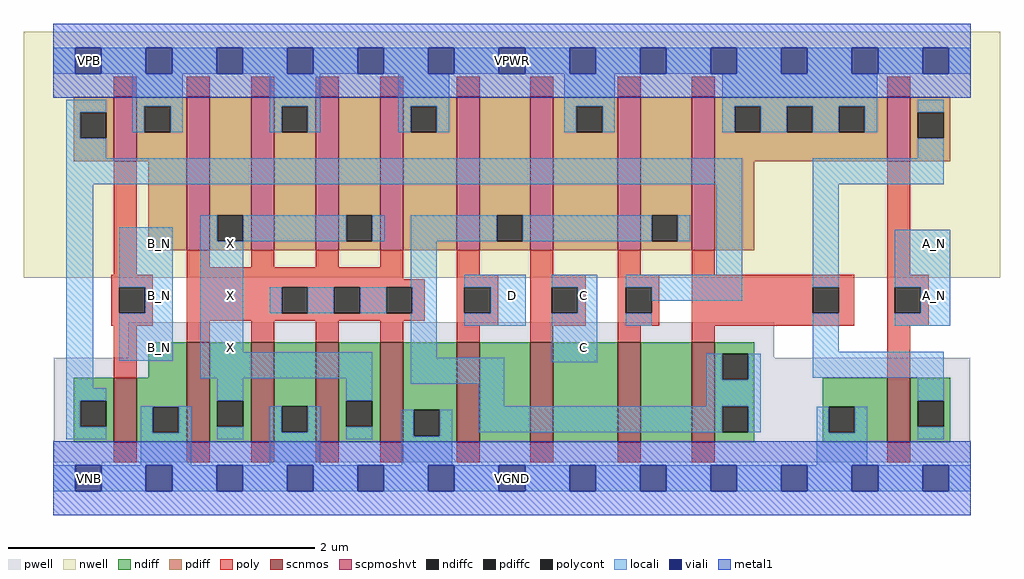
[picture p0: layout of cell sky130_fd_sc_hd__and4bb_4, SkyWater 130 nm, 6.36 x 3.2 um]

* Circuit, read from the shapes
.subckt sky130_fd_sc_hd__and4bb_4 A_N B_N C D VGND VNB VPB VPWR X
XM1 VGND B_N n1 VNB sky130_fd_pr__nfet_01v8 w=0.42 l=0.15
XM2 X n2 VGND VNB sky130_fd_pr__nfet_01v8 w=0.65 l=0.15 m=4
XM3 n3 D VGND VNB sky130_fd_pr__nfet_01v8 w=0.65 l=0.15
XM4 n4 C n3 VNB sky130_fd_pr__nfet_01v8 w=0.65 l=0.15
XM5 n5 n1 n4 VNB sky130_fd_pr__nfet_01v8 w=0.65 l=0.15
XM6 n2 n6 n5 VNB sky130_fd_pr__nfet_01v8 w=0.65 l=0.15
XM7 n6 A_N VGND VNB sky130_fd_pr__nfet_01v8 w=0.42 l=0.15
XM8 VPWR B_N n1 VPB sky130_fd_pr__pfet_01v8_hvt w=0.42 l=0.15
XM9 X n2 VPWR VPB sky130_fd_pr__pfet_01v8_hvt w=1 l=0.15 m=4
XM10 n2 D VPWR VPB sky130_fd_pr__pfet_01v8_hvt w=1 l=0.15
XM11 VPWR C n2 VPB sky130_fd_pr__pfet_01v8_hvt w=1 l=0.15
XM12 n2 n1 VPWR VPB sky130_fd_pr__pfet_01v8_hvt w=1 l=0.15
XM13 VPWR n6 n2 VPB sky130_fd_pr__pfet_01v8_hvt w=1 l=0.15
XM14 n6 A_N VPWR VPB sky130_fd_pr__pfet_01v8_hvt w=0.42 l=0.15
.ends

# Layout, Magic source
magic
tech sky130B
magscale 1 2
<< nwell >>
rect -38 261 1234 582
<< pwell >>
rect 98 157 940 203
rect 1 21 1195 157
rect 30 -17 64 21
<< scnmos >>
rect 79 47 109 131
rect 174 47 204 177
rect 258 47 288 177
rect 342 47 372 177
rect 426 47 456 177
rect 526 47 556 177
rect 622 47 652 177
rect 736 47 766 177
rect 832 47 862 177
rect 1087 47 1117 131
<< scpmoshvt >>
rect 79 413 109 497
rect 174 297 204 497
rect 258 297 288 497
rect 342 297 372 497
rect 426 297 456 497
rect 526 297 556 497
rect 622 297 652 497
rect 736 297 766 497
rect 832 297 862 497
rect 1087 413 1117 497
<< ndiff >>
rect 124 131 174 177
rect 27 101 79 131
rect 27 67 35 101
rect 69 67 79 101
rect 27 47 79 67
rect 109 93 174 131
rect 109 59 130 93
rect 164 59 174 93
rect 109 47 174 59
rect 204 101 258 177
rect 204 67 214 101
rect 248 67 258 101
rect 204 47 258 67
rect 288 94 342 177
rect 288 60 298 94
rect 332 60 342 94
rect 288 47 342 60
rect 372 101 426 177
rect 372 67 382 101
rect 416 67 426 101
rect 372 47 426 67
rect 456 89 526 177
rect 456 55 470 89
rect 504 55 526 89
rect 456 47 526 55
rect 556 47 622 177
rect 652 47 736 177
rect 766 47 832 177
rect 862 162 914 177
rect 862 128 872 162
rect 906 128 914 162
rect 862 94 914 128
rect 862 60 872 94
rect 906 60 914 94
rect 862 47 914 60
rect 1003 93 1087 131
rect 1003 59 1011 93
rect 1045 59 1087 93
rect 1003 47 1087 59
rect 1117 101 1169 131
rect 1117 67 1127 101
rect 1161 67 1169 101
rect 1117 47 1169 67
<< pdiff >>
rect 27 477 79 497
rect 27 443 35 477
rect 69 443 79 477
rect 27 413 79 443
rect 109 485 174 497
rect 109 451 119 485
rect 153 451 174 485
rect 109 413 174 451
rect 124 297 174 413
rect 204 343 258 497
rect 204 309 214 343
rect 248 309 258 343
rect 204 297 258 309
rect 288 485 342 497
rect 288 451 298 485
rect 332 451 342 485
rect 288 297 342 451
rect 372 343 426 497
rect 372 309 382 343
rect 416 309 426 343
rect 372 297 426 309
rect 456 485 526 497
rect 456 451 466 485
rect 500 451 526 485
rect 456 297 526 451
rect 556 343 622 497
rect 556 309 578 343
rect 612 309 622 343
rect 556 297 622 309
rect 652 485 736 497
rect 652 451 682 485
rect 716 451 736 485
rect 652 297 736 451
rect 766 343 832 497
rect 766 309 780 343
rect 814 309 832 343
rect 766 297 832 309
rect 862 485 1087 497
rect 862 451 888 485
rect 922 451 956 485
rect 990 451 1024 485
rect 1058 451 1087 485
rect 862 413 1087 451
rect 1117 477 1169 497
rect 1117 443 1127 477
rect 1161 443 1169 477
rect 1117 413 1169 443
rect 862 297 914 413
<< ndiffc >>
rect 35 67 69 101
rect 130 59 164 93
rect 214 67 248 101
rect 298 60 332 94
rect 382 67 416 101
rect 470 55 504 89
rect 872 128 906 162
rect 872 60 906 94
rect 1011 59 1045 93
rect 1127 67 1161 101
<< pdiffc >>
rect 35 443 69 477
rect 119 451 153 485
rect 214 309 248 343
rect 298 451 332 485
rect 382 309 416 343
rect 466 451 500 485
rect 578 309 612 343
rect 682 451 716 485
rect 780 309 814 343
rect 888 451 922 485
rect 956 451 990 485
rect 1024 451 1058 485
rect 1127 443 1161 477
<< poly >>
rect 79 497 109 523
rect 174 497 204 523
rect 258 497 288 523
rect 342 497 372 523
rect 426 497 456 523
rect 526 497 556 523
rect 622 497 652 523
rect 736 497 766 523
rect 832 497 862 523
rect 1087 497 1117 523
rect 79 265 109 413
rect 174 275 204 297
rect 258 275 288 297
rect 342 275 372 297
rect 426 275 456 297
rect 76 249 130 265
rect 76 215 86 249
rect 120 215 130 249
rect 76 199 130 215
rect 174 259 456 275
rect 526 265 556 297
rect 622 265 652 297
rect 736 265 766 297
rect 832 265 862 297
rect 1087 265 1117 413
rect 174 249 484 259
rect 174 215 298 249
rect 332 215 366 249
rect 400 215 434 249
rect 468 215 484 249
rect 174 205 484 215
rect 526 249 580 265
rect 526 215 536 249
rect 570 215 580 249
rect 79 131 109 199
rect 174 177 204 205
rect 258 177 288 205
rect 342 177 372 205
rect 426 177 456 205
rect 526 199 580 215
rect 622 249 694 265
rect 622 215 650 249
rect 684 215 694 249
rect 622 199 694 215
rect 736 249 790 265
rect 736 215 746 249
rect 780 215 790 249
rect 736 199 790 215
rect 832 249 1044 265
rect 832 215 990 249
rect 1024 215 1044 249
rect 832 199 1044 215
rect 1087 249 1141 265
rect 1087 215 1097 249
rect 1131 215 1141 249
rect 1087 199 1141 215
rect 526 177 556 199
rect 622 177 652 199
rect 736 177 766 199
rect 832 177 862 199
rect 1087 131 1117 199
rect 79 21 109 47
rect 174 21 204 47
rect 258 21 288 47
rect 342 21 372 47
rect 426 21 456 47
rect 526 21 556 47
rect 622 21 652 47
rect 736 21 766 47
rect 832 21 862 47
rect 1087 21 1117 47
<< polycont >>
rect 86 215 120 249
rect 298 215 332 249
rect 366 215 400 249
rect 434 215 468 249
rect 536 215 570 249
rect 650 215 684 249
rect 746 215 780 249
rect 990 215 1024 249
rect 1097 215 1131 249
<< locali >>
rect 0 527 29 561
rect 63 527 121 561
rect 155 527 213 561
rect 247 527 305 561
rect 339 527 397 561
rect 431 527 489 561
rect 523 527 581 561
rect 615 527 673 561
rect 707 527 765 561
rect 799 527 857 561
rect 891 527 949 561
rect 983 527 1041 561
rect 1075 527 1133 561
rect 1167 527 1196 561
rect 17 477 69 493
rect 17 443 35 477
rect 103 485 169 527
rect 103 451 119 485
rect 153 451 169 485
rect 282 485 348 527
rect 282 451 298 485
rect 332 451 348 485
rect 450 485 516 527
rect 450 451 466 485
rect 500 451 516 485
rect 666 485 732 527
rect 666 451 682 485
rect 716 451 732 485
rect 872 485 1074 527
rect 872 451 888 485
rect 922 451 956 485
rect 990 451 1024 485
rect 1058 451 1074 485
rect 1127 477 1161 493
rect 17 417 69 443
rect 1127 417 1161 443
rect 17 383 898 417
rect 17 117 52 383
rect 86 249 156 327
rect 120 215 156 249
rect 86 153 156 215
rect 192 309 214 343
rect 248 309 382 343
rect 416 309 432 343
rect 466 309 578 343
rect 612 309 780 343
rect 814 309 830 343
rect 192 164 248 309
rect 466 249 500 309
rect 864 265 898 383
rect 282 215 298 249
rect 332 215 366 249
rect 400 215 434 249
rect 468 215 500 249
rect 192 130 416 164
rect 17 101 69 117
rect 17 67 35 101
rect 214 101 248 130
rect 17 51 69 67
rect 114 93 180 94
rect 114 59 130 93
rect 164 59 180 93
rect 114 17 180 59
rect 382 101 416 130
rect 466 157 500 215
rect 536 249 616 265
rect 570 215 616 249
rect 536 199 616 215
rect 650 249 709 265
rect 684 215 709 249
rect 466 123 588 157
rect 650 151 709 215
rect 746 249 898 265
rect 780 231 898 249
rect 990 383 1161 417
rect 990 249 1024 383
rect 746 199 780 215
rect 990 165 1024 215
rect 1097 249 1169 324
rect 1131 215 1169 249
rect 1097 199 1169 215
rect 214 51 248 67
rect 282 60 298 94
rect 332 60 348 94
rect 282 17 348 60
rect 554 94 588 123
rect 851 128 872 162
rect 906 128 922 162
rect 990 131 1161 165
rect 851 94 922 128
rect 382 51 416 67
rect 454 55 470 89
rect 504 55 520 89
rect 554 60 872 94
rect 906 60 922 94
rect 1127 101 1161 131
rect 454 17 520 55
rect 995 59 1011 93
rect 1045 59 1061 93
rect 995 17 1061 59
rect 1127 51 1161 67
rect 0 -17 29 17
rect 63 -17 121 17
rect 155 -17 213 17
rect 247 -17 305 17
rect 339 -17 397 17
rect 431 -17 489 17
rect 523 -17 581 17
rect 615 -17 673 17
rect 707 -17 765 17
rect 799 -17 857 17
rect 891 -17 949 17
rect 983 -17 1041 17
rect 1075 -17 1133 17
rect 1167 -17 1196 17
<< viali >>
rect 29 527 63 561
rect 121 527 155 561
rect 213 527 247 561
rect 305 527 339 561
rect 397 527 431 561
rect 489 527 523 561
rect 581 527 615 561
rect 673 527 707 561
rect 765 527 799 561
rect 857 527 891 561
rect 949 527 983 561
rect 1041 527 1075 561
rect 1133 527 1167 561
rect 29 -17 63 17
rect 121 -17 155 17
rect 213 -17 247 17
rect 305 -17 339 17
rect 397 -17 431 17
rect 489 -17 523 17
rect 581 -17 615 17
rect 673 -17 707 17
rect 765 -17 799 17
rect 857 -17 891 17
rect 949 -17 983 17
rect 1041 -17 1075 17
rect 1133 -17 1167 17
<< metal1 >>
rect 0 561 1196 592
rect 0 527 29 561
rect 63 527 121 561
rect 155 527 213 561
rect 247 527 305 561
rect 339 527 397 561
rect 431 527 489 561
rect 523 527 581 561
rect 615 527 673 561
rect 707 527 765 561
rect 799 527 857 561
rect 891 527 949 561
rect 983 527 1041 561
rect 1075 527 1133 561
rect 1167 527 1196 561
rect 0 496 1196 527
rect 0 17 1196 48
rect 0 -17 29 17
rect 63 -17 121 17
rect 155 -17 213 17
rect 247 -17 305 17
rect 339 -17 397 17
rect 431 -17 489 17
rect 523 -17 581 17
rect 615 -17 673 17
rect 707 -17 765 17
rect 799 -17 857 17
rect 891 -17 949 17
rect 983 -17 1041 17
rect 1075 -17 1133 17
rect 1167 -17 1196 17
rect 0 -48 1196 -17
<< labels >>
flabel locali s 674 221 708 255 0 FreeSans 200 0 0 0 C
port 3 nsew signal input
flabel locali s 674 153 708 187 0 FreeSans 200 0 0 0 C
port 3 nsew signal input
flabel locali s 1132 289 1166 323 0 FreeSans 200 0 0 0 A_N
port 1 nsew signal input
flabel locali s 1132 221 1166 255 0 FreeSans 200 0 0 0 A_N
port 1 nsew signal input
flabel locali s 582 221 616 255 0 FreeSans 200 0 0 0 D
port 4 nsew signal input
flabel locali s 214 221 248 255 0 FreeSans 200 0 0 0 X
port 9 nsew signal output
flabel locali s 214 289 248 323 0 FreeSans 200 0 0 0 X
port 9 nsew signal output
flabel locali s 122 153 156 187 0 FreeSans 200 0 0 0 B_N
port 2 nsew signal input
flabel locali s 122 289 156 323 0 FreeSans 200 0 0 0 B_N
port 2 nsew signal input
flabel locali s 214 153 248 187 0 FreeSans 200 0 0 0 X
port 9 nsew signal output
flabel locali s 122 221 156 255 0 FreeSans 200 0 0 0 B_N
port 2 nsew signal input
flabel pwell s 30 -17 64 17 0 FreeSans 200 0 0 0 VNB
port 6 nsew ground bidirectional
flabel nwell s 30 527 64 561 0 FreeSans 200 0 0 0 VPB
port 7 nsew power bidirectional
flabel metal1 s 30 -17 64 17 0 FreeSans 200 0 0 0 VGND
port 5 nsew ground bidirectional abutment
flabel metal1 s 30 527 64 561 0 FreeSans 200 0 0 0 VPWR
port 8 nsew power bidirectional abutment
rlabel comment s 0 0 0 0 4 and4bb_4
rlabel metal1 s 0 -48 1196 48 1 VGND
port 5 nsew ground bidirectional abutment
rlabel metal1 s 0 496 1196 592 1 VPWR
port 8 nsew power bidirectional abutment
<< properties >>
string FIXED_BBOX 0 0 1196 544
string GDS_END 3083610
string GDS_FILE $PDKPATH/libs.ref/sky130_fd_sc_hd/gds/sky130_fd_sc_hd.gds
string GDS_START 3074952
string LEFclass CORE
string LEFsite unithd
string LEFsymmetry X Y R90
string path 0.000 0.000 29.900 0.000 
<< end >>
